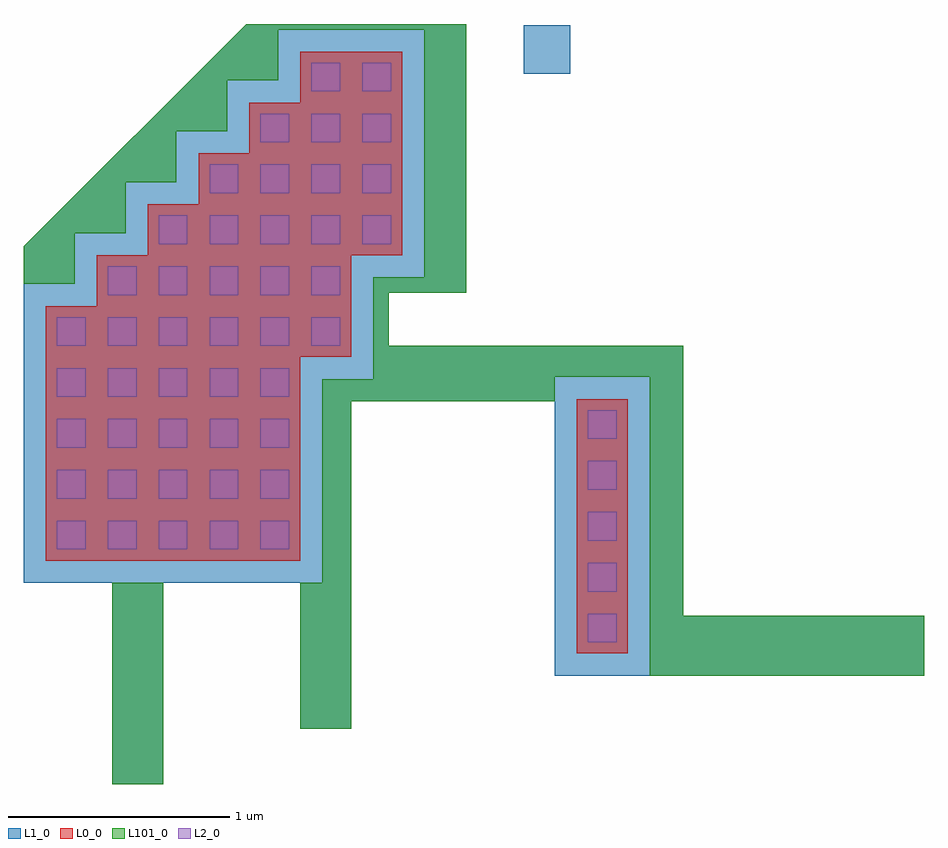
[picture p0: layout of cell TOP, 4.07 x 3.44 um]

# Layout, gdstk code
import gdstk
lib = gdstk.Library(unit=1e-6, precision=1e-09)
def R(c, l, rs):  # rectangles x0, y0, x1, y1
    for r in rs: c.add(gdstk.rectangle(r[:2], r[2:], *l))
def P(c, l, *ps):  # polygons
    for p in ps: c.add(gdstk.Polygon(p, *l))
L0_0 = (0, 0)
L1_0 = (1, 0)
L2_0 = (2, 0)
L101_0 = (101, 0)

fill_cell = lib.new_cell('FILL_CELL')
R(fill_cell, L0_0, [(-0.1,-0.13,0.13,0.1)])
R(fill_cell, L2_0, [(-0.05,-0.08,0.08,0.05)])

top = lib.new_cell('TOP')
R(top, L1_0, [(1.76,1.79,1.97,2.01)])
P(top, L1_0, [(-0.1,-1.42),(-0.1,-0.51),(-0.5,-0.51),(-0.5,1.01),(0.505,2.015),(1.5,2.015),(1.5,0.8),(1.15,0.8),(1.15,0.56),(2.48,0.56),(2.48,-0.66),(3.57,-0.66),(3.57,-0.93),(1.9,-0.93),(1.9,0.31),(0.98,0.31),(0.98,-1.17),(0.75,-1.17),(0.75,-0.51),(0.13,-0.51),(0.13,-1.42)])
R(top, L101_0, [(-0.1,-1.42,0.13,-0.51)])
P(top, L101_0, [(0.75,-1.17),(0.75,-0.51),(0.85,-0.51),(0.85,0.41),(1.08,0.41),(1.08,0.87),(1.31,0.87),(1.31,1.99),(0.65,1.99),(0.65,1.76),(0.42,1.76),(0.42,1.53),(0.19,1.53),(0.19,1.3),(-0.04,1.3),(-0.04,1.07),(-0.27,1.07),(-0.27,0.84),(-0.5,0.84),(-0.5,1.01),(0.505,2.015),(1.5,2.015),(1.5,0.8),(1.15,0.8),(1.15,0.56),(2.48,0.56),(2.48,-0.66),(3.57,-0.66),(3.57,-0.93),(2.33,-0.93),(2.33,0.42),(1.9,0.42),(1.9,0.31),(0.98,0.31),(0.98,-1.17)])
r = gdstk.Reference(fill_cell, (2.1,-0.7)); r.repetition = gdstk.Repetition(1, 3, v1=(0,0), v2=(0,0.46)); top.add(r)
r = gdstk.Reference(fill_cell, (2.1,-0.47)); r.repetition = gdstk.Repetition(1, 2, v1=(0,0), v2=(0,0.46)); top.add(r)
r = gdstk.Reference(fill_cell, (-0.3,-0.28)); r.repetition = gdstk.Repetition(1, 3, v1=(0,0), v2=(0,0.46)); top.add(r)
r = gdstk.Reference(fill_cell, (0.16,-0.28)); r.repetition = gdstk.Repetition(1, 4, v1=(0,0), v2=(0,0.46)); top.add(r)
r = gdstk.Reference(fill_cell, (0.62,-0.28)); r.repetition = gdstk.Repetition(1, 5, v1=(0,0), v2=(0,0.46)); top.add(r)
r = gdstk.Reference(fill_cell, (1.08,1.1)); r.repetition = gdstk.Repetition(1, 2, v1=(0,0), v2=(0,0.46)); top.add(r)
r = gdstk.Reference(fill_cell, (-0.07,-0.28)); r.repetition = gdstk.Repetition(1, 3, v1=(0,0), v2=(0,0.46)); top.add(r)
r = gdstk.Reference(fill_cell, (0.39,-0.28)); r.repetition = gdstk.Repetition(1, 4, v1=(0,0), v2=(0,0.46)); top.add(r)
r = gdstk.Reference(fill_cell, (0.85,0.64)); r.repetition = gdstk.Repetition(1, 3, v1=(0,0), v2=(0,0.46)); top.add(r)
r = gdstk.Reference(fill_cell, (-0.3,-0.05)); r.repetition = gdstk.Repetition(1, 2, v1=(0,0), v2=(0,0.46)); top.add(r)
r = gdstk.Reference(fill_cell, (0.16,-0.05)); r.repetition = gdstk.Repetition(1, 3, v1=(0,0), v2=(0,0.46)); top.add(r)
r = gdstk.Reference(fill_cell, (0.62,-0.05)); r.repetition = gdstk.Repetition(1, 4, v1=(0,0), v2=(0,0.46)); top.add(r)
r = gdstk.Reference(fill_cell, (1.08,1.33)); r.repetition = gdstk.Repetition(1, 2, v1=(0,0), v2=(0,0.46)); top.add(r)
r = gdstk.Reference(fill_cell, (-0.07,-0.05)); r.repetition = gdstk.Repetition(1, 3, v1=(0,0), v2=(0,0.46)); top.add(r)
r = gdstk.Reference(fill_cell, (0.39,-0.05)); r.repetition = gdstk.Repetition(1, 4, v1=(0,0), v2=(0,0.46)); top.add(r)
r = gdstk.Reference(fill_cell, (0.85,0.87)); r.repetition = gdstk.Repetition(1, 3, v1=(0,0), v2=(0,0.46)); top.add(r)

lib.write_gds('TOP.gds')
